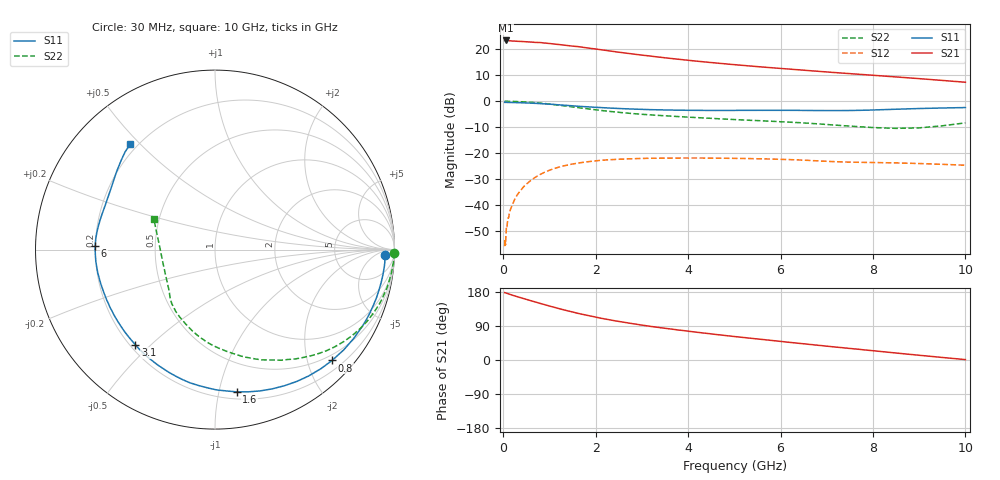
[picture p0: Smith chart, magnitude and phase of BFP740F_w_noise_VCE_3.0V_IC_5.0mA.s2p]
! (c) 2012  Infineon Technologies AG, Munich
! Infineon Technologies  Discrete & RF Semiconductors
! BFP740F
! VCE =  3.0 V,  IC =  5.0 mA
! Common Emitter S-Parameters:  Oct 2012
# GHz  S  MA  R  50
!  f  S11  S21  S12  S22
! GHz  MAG  ANG  MAG  ANG  MAG  ANG  MAG  ANG
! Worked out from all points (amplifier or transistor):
!   99 points, 30 MHz to 10 GHz, reference 50 ohm
!   highest |S21| = 23.4 dB at 50 MHz (marker M1)
!   |S21| within 3 dB of that: start of sweep to 1.868 GHz
!   unconditionally stable (mu >= 1): 7.534 GHz to end of sweep
!   at 350 MHz: K = 0.05, MSG = 29.0 dB, |S12| = -35.0 dB
!   at 3.5 GHz: K = 0.33, MSG = 19.3 dB, |S12| = -21.9 dB
!   at 10 GHz: K = 1.29, MAG = 12.8 dB, |S12| = -24.7 dB
!   lowest NFmin = 0.37 dB at 450 MHz
!   S11 on the Smith chart (normalised r, x): 30 MHz: 29, -17; 800 MHz: 0.38, -2.46; 1.6 GHz: 0.25, -1.13; 3.1 GHz: 0.22, -0.45; 6 GHz: 0.20, +0.02; 10 GHz: 0.17, +0.47
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0.03  0.9495 -1.7  14.71 177.8  0.0016 85.8  0.9978 -1.1
0.04  0.9494 -2.3  14.72 177.4  0.0022 87.1  0.9978 -1.4
0.05  0.948 -2.8  14.85 177.2  0.0017 75.4  0.9972 -1.9
0.07  0.9482 -3.9  14.84 176.4  0.0039 73.2  0.9982 -2.7
0.25  0.9411 -13.9  14.43 169.1  0.0129 80.9  0.9878 -9.3
0.5  0.9258 -27.3  14.01 160.0  0.0251 73.7  0.9643 -18.4
0.8  0.8984 -43.4  13.53 149.3  0.0387 63.8  0.9194 -28.8
1  0.8765 -53.4  12.98 142.4  0.0466 57.5  0.8813 -35.6
1.2  0.8513 -63.0  12.41 135.8  0.0534 51.6  0.8392 -42.1
1.6  0.8017 -81.4  11.35 123.6  0.0637 41.5  0.7558 -53.7
1.7  0.7899 -85.4  11.03 120.9  0.0657 39.2  0.735 -56.4
2.1  0.7551 -100.7  9.871 110.6  0.0723 30.8  0.6659 -67.2
2.4  0.7308 -110.5  9.072 103.8  0.0751 25.4  0.6234 -74.1
2.7  0.7113 -119.3  8.361 97.8  0.0774 21.0  0.5885 -80.0
3.1  0.6913 -129.9  7.57 90.3  0.0791 15.7  0.5515 -87.4
3.4  0.681 -137.0  7.048 85.2  0.0798 12.2  0.5299 -92.2
4.2  0.6657 -153.1  5.909 73.1  0.0802 4.6  0.4825 -102.7
5.1  0.6658 -168.6  4.977 60.7  0.0788 -2.5  0.4382 -113.4
6  0.6675 178.2  4.29 49.1  0.0756 -8.5  0.4016 -123.9
6.7  0.6618 167.5  3.838 40.3  0.0714 -12.4  0.3709 -132.0
8.5  0.7004 141.4  2.938 18.4  0.0646 -15.2  0.2994 -165.9
10  0.7544 128.7  2.322 1.1  0.0583 -17.5  0.3821 153.2
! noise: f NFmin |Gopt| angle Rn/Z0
0.45  0.37  0.38  7  0.2
0.9  0.42  0.38  14  0.17
1.5  0.5  0.37  24  0.14
1.9  0.55  0.35  33  0.14
2.4  0.61  0.33  42  0.13
3.5  0.76  0.31  65  0.12
5.5  1.02  0.2  113  0.15
10  1.55  0.42  -127  0.08
